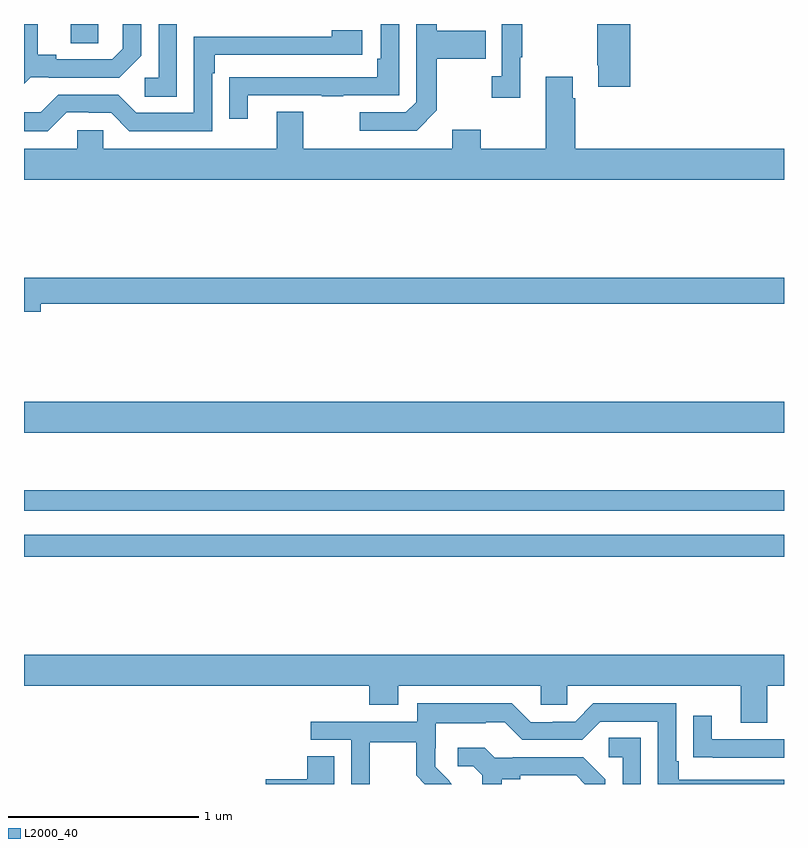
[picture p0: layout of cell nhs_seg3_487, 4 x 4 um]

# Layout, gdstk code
import gdstk
lib = gdstk.Library(unit=1e-6, precision=1e-09)
def R(c, l, rs):  # rectangles x0, y0, x1, y1
    for r in rs: c.add(gdstk.rectangle(r[:2], r[2:], *l))
def P(c, l, *ps):  # polygons
    for p in ps: c.add(gdstk.Polygon(p, *l))
L2000_40 = (2000, 40)

nhs_seg3_487 = lib.new_cell('nhs_seg3_487')
R(nhs_seg3_487, L2000_40, [(135,701.596,139,701.712), (135,701.838,139,701.947), (135,702.248,139,702.412), (135.245,704.299,135.39,704.4)])
P(nhs_seg3_487, L2000_40, [(136.177,704.025),(136.567,704.025),(136.567,704.02),(136.679,704.02),(136.679,704.025),(136.974,704.025),(136.974,704.4),(136.878,704.4),(136.878,704.218),(136.858,704.218),(136.858,704.121),(136.183,704.121),(136.183,704.12),(136.081,704.12),(136.081,703.902),(136.177,703.902)],
  [(137.611,704.225),(137.623,704.225),(137.623,704.4),(137.514,704.4),(137.514,704.126),(137.463,704.126),(137.463,704.013),(137.611,704.013)],
  [(137.173,703.945),(137.173,704.218),(137.429,704.218),(137.429,704.365),(137.173,704.365),(137.173,704.4),(137.064,704.4),(137.064,703.989),(137.01,703.935),(136.767,703.935),(136.767,703.839),(137.067,703.839)],
  [(135.036,704.121),(135.13,704.121),(135.13,704.118),(135.502,704.118),(135.618,704.234),(135.618,704.4),(135.521,704.4),(135.521,704.271),(135.464,704.214),(135.169,704.214),(135.169,704.237),(135.073,704.237),(135.073,704.4),(135,704.4),(135,704.085)],
  [(138.191,704.4),(138.016,704.4),(138.016,704.182),(138.023,704.182),(138.023,704.07),(138.191,704.07)],
  [(135.804,704.4),(135.708,704.4),(135.708,704.118),(135.636,704.118),(135.636,704.017),(135.804,704.017)],
  [(135.225,703.935),(135.341,703.935),(135.341,703.932),(135.459,703.932),(135.555,703.836),(135.99,703.836),(135.99,704.141),(136.003,704.141),(136.003,704.238),(136.78,704.238),(136.78,704.368),(136.619,704.368),(136.619,704.334),(135.894,704.334),(135.894,703.932),(135.591,703.932),(135.495,704.028),(135.18,704.028),(135.087,703.935),(135,703.935),(135,703.835),(135.125,703.835)],
  [(139,703.744),(137.9,703.744),(137.9,704.009),(137.887,704.009),(137.887,704.122),(137.747,704.122),(137.747,703.744),(137.403,703.744),(137.403,703.843),(137.255,703.843),(137.255,703.744),(136.471,703.744),(136.471,703.939),(136.331,703.939),(136.331,703.744),(135.417,703.744),(135.417,703.842),(135.279,703.842),(135.279,703.744),(135,703.744),(135,703.58),(139,703.58)],
  [(135.088,702.928),(139,702.928),(139,703.064),(135,703.064),(135,702.886),(135.088,702.886)],
  [(138.913,700.916),(139,700.916),(139,701.08),(135,701.08),(135,700.916),(136.817,700.916),(136.817,700.817),(136.969,700.817),(136.969,700.916),(137.721,700.916),(137.721,700.818),(137.859,700.818),(137.859,700.916),(138.773,700.916),(138.773,700.722),(138.913,700.722)],
  [(136.821,700.62),(137.065,700.62),(137.065,700.445),(137.11,700.4),(137.252,700.4),(137.237,700.415),(137.238,700.416),(137.164,700.49),(137.164,700.587),(137.166,700.587),(137.166,700.721),(137.429,700.721),(137.429,700.725),(137.529,700.725),(137.622,700.632),(137.937,700.632),(138.033,700.728),(138.336,700.728),(138.336,700.4),(139,700.4),(139,700.422),(138.445,700.422),(138.445,700.519),(138.432,700.519),(138.432,700.824),(137.997,700.824),(137.901,700.728),(137.783,700.728),(137.783,700.725),(137.667,700.725),(137.567,700.825),(137.07,700.825),(137.07,700.728),(136.509,700.728),(136.509,700.632),(136.722,700.632),(136.722,700.4),(136.821,700.4)],
  [(139,700.635),(138.619,700.635),(138.619,700.759),(138.523,700.759),(138.523,700.54),(138.625,700.54),(138.625,700.539),(139,700.539)],
  [(138.246,700.643),(138.078,700.643),(138.078,700.542),(138.15,700.542),(138.15,700.4),(138.246,700.4)],
  [(137.515,700.424),(137.611,700.424),(137.611,700.446),(137.906,700.446),(137.952,700.4),(138.06,700.4),(138.06,700.426),(137.944,700.542),(137.572,700.542),(137.572,700.539),(137.478,700.539),(137.426,700.591),(137.283,700.591),(137.283,700.494),(137.364,700.494),(137.411,700.447),(137.411,700.4),(137.515,700.4)],
  [(136.633,700.547),(136.49,700.547),(136.49,700.424),(136.272,700.424),(136.272,700.4),(136.633,700.4)])

lib.write_gds('nhs_seg3_487.gds')
